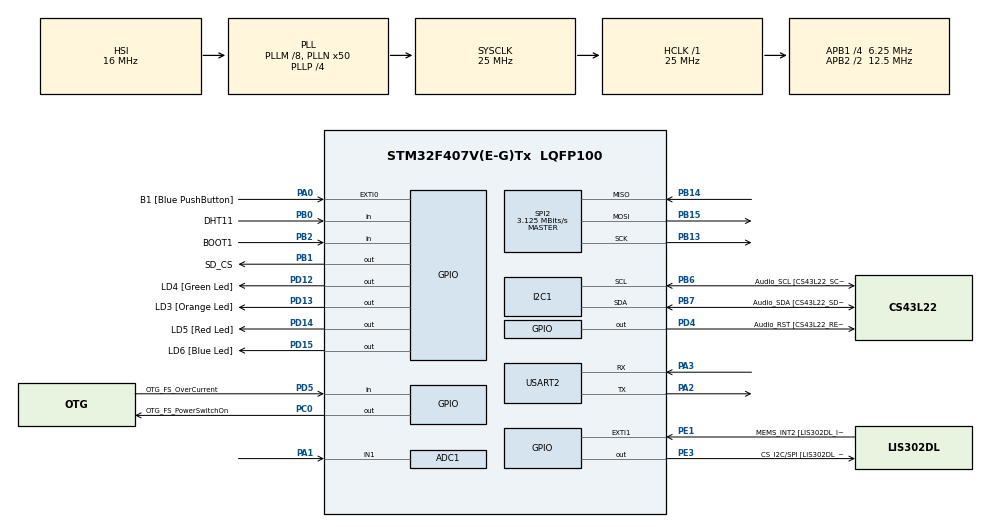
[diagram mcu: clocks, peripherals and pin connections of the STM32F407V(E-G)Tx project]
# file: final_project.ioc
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ADC1.Channel-0\#ChannelRegularConversion=ADC_CHANNEL_1
ADC1.ClockPrescaler=ADC_CLOCK_SYNC_PCLK_DIV4
ADC1.NbrOfConversionFlag=1
ADC1.Rank-0\#ChannelRegularConversion=1
ADC1.SamplingTime-0\#ChannelRegularConversion=ADC_SAMPLETIME_56CYCLES
ADC1.master=1
Mcu.Family=STM32F4
Mcu.Name=STM32F407V(E-G)Tx
Mcu.Package=LQFP100
NVIC.PriorityGroup=NVIC_PRIORITYGROUP_4
NVIC.TIM2_IRQn=true\:15\:0\:false\:false\:true\:false\:true\:true
NVIC.TimeBase=TIM2_IRQn
NVIC.TimeBaseIP=TIM2
NVIC.USART2_IRQn=true\:0\:0\:false\:false\:true\:true\:true\:true
PA0-WKUP.GPIO_Label=B1 [Blue PushButton]
PA0-WKUP.Signal=GPXTI0
PA1.Signal=ADCx_IN1
PA10.GPIO_Label=OTG_FS_ID
PA10.GPIO_Mode=GPIO_MODE_AF_PP
PA10.GPIO_PuPd=GPIO_NOPULL
PA10.GPIO_Speed=GPIO_SPEED_FREQ_LOW
PA10.Signal=USB_OTG_FS_ID
PA11.GPIO_Label=OTG_FS_DM
PA11.GPIO_Mode=GPIO_MODE_AF_PP
PA11.GPIO_PuPd=GPIO_NOPULL
PA11.GPIO_Speed=GPIO_SPEED_FREQ_LOW
PA11.Signal=USB_OTG_FS_DM
PA12.GPIO_Label=OTG_FS_DP
PA12.GPIO_Mode=GPIO_MODE_AF_PP
PA12.GPIO_PuPd=GPIO_NOPULL
PA12.GPIO_Speed=GPIO_SPEED_FREQ_LOW
PA12.Signal=USB_OTG_FS_DP
PA13.GPIO_Label=SWDIO
PA13.Mode=Serial_Wire
PA13.Signal=SYS_JTMS-SWDIO
PA14.GPIO_Label=SWCLK
PA14.Mode=Serial_Wire
PA14.Signal=SYS_JTCK-SWCLK
PA2.Mode=Asynchronous
PA2.Signal=USART2_TX
PA3.Mode=Asynchronous
PA3.Signal=USART2_RX
PA4.GPIO_Label=I2S3_WS [CS43L22_LRCK]
PA4.GPIO_Mode=GPIO_MODE_AF_PP
PA4.GPIO_PuPd=GPIO_NOPULL
PA4.GPIO_Speed=GPIO_SPEED_FREQ_LOW
PA4.Signal=I2S3_WS
PA5.GPIO_Label=SPI1_SCK [LIS302DL_SCL/SPC]
PA5.GPIO_Mode=GPIO_MODE_AF_PP
PA5.GPIO_PuPd=GPIO_NOPULL
PA5.GPIO_Speed=GPIO_SPEED_FREQ_LOW
PA5.Signal=SPI1_SCK
PA6.GPIO_Label=SPI1_MISO [LIS302DL_SDO]
PA6.GPIO_Mode=GPIO_MODE_AF_PP
PA6.GPIO_PuPd=GPIO_NOPULL
PA6.GPIO_Speed=GPIO_SPEED_FREQ_LOW
PA6.Signal=SPI1_MISO
PA7.GPIO_Label=SPI1_MOSI [LIS302DL_SDA/SDI/SDO]
PA7.GPIO_Mode=GPIO_MODE_AF_PP
PA7.GPIO_PuPd=GPIO_NOPULL
PA7.GPIO_Speed=GPIO_SPEED_FREQ_LOW
PA7.Signal=SPI1_MOSI
PA9.GPIO_Label=VBUS_FS
PA9.GPIO_Mode=GPIO_MODE_INPUT
PA9.GPIO_PuPd=GPIO_NOPULL
PA9.Signal=USB_OTG_FS_VBUS
PB0.GPIO_Label=DHT11
PB0.GPIO_PuPd=GPIO_PULLUP
PB0.Signal=GPIO_Input
PB1.GPIO_Label=SD_CS
PB1.Signal=GPIO_Output
PB10.GPIO_Label=CLK_IN [MP45DT02_CLK]
PB10.GPIO_Mode=GPIO_MODE_AF_PP
PB10.GPIO_PuPd=GPIO_NOPULL
PB10.GPIO_Speed=GPIO_SPEED_FREQ_LOW
PB10.Signal=I2S2_CK
PB13.Mode=Full_Duplex_Master
PB13.Signal=SPI2_SCK
PB14.Mode=Full_Duplex_Master
PB14.Signal=SPI2_MISO
PB15.Mode=Full_Duplex_Master
PB15.Signal=SPI2_MOSI
PB2.GPIO_Label=BOOT1
PB2.GPIO_Mode=GPIO_MODE_INPUT
PB2.GPIO_PuPd=GPIO_NOPULL
PB2.Signal=GPIO_Input
PB3.GPIO_Label=SWO
PB3.Signal=SYS_JTDO-SWO
PB6.GPIO_Label=Audio_SCL [CS43L22_SCL]
PB6.GPIO_Mode=GPIO_MODE_AF_OD
PB6.GPIO_PuPd=GPIO_NOPULL
PB6.GPIO_Speed=GPIO_SPEED_FREQ_LOW
PB6.Mode=I2C
PB6.Signal=I2C1_SCL
PB7.GPIO_Label=Audio_SDA [CS43L22_SDA]
PB7.GPIO_Mode=GPIO_MODE_AF_OD
PB7.GPIO_Speed=GPIO_SPEED_FREQ_LOW
PB7.Mode=I2C
PB7.Signal=I2C1_SDA
PC0.GPIO_Label=OTG_FS_PowerSwitchOn
PC0.GPIO_PuPd=GPIO_NOPULL
PC0.GPIO_Speed=GPIO_SPEED_FREQ_LOW
PC0.PinState=GPIO_PIN_SET
PC0.Signal=GPIO_Output
PC10.GPIO_Label=I2S3_SCK [CS43L22_SCLK]
PC10.GPIO_Mode=GPIO_MODE_AF_PP
PC10.GPIO_PuPd=GPIO_NOPULL
PC10.GPIO_Speed=GPIO_SPEED_FREQ_LOW
PC10.Signal=I2S3_CK
PC12.GPIO_Label=I2S3_SD [CS43L22_SDIN]
PC12.GPIO_Mode=GPIO_MODE_AF_PP
PC12.GPIO_PuPd=GPIO_NOPULL
PC12.GPIO_Speed=GPIO_SPEED_FREQ_LOW
PC12.Signal=I2S3_SD
PC14-OSC32_IN.GPIO_Label=PC14-OSC32_IN
PC14-OSC32_IN.Signal=RCC_OSC32_IN
PC15-OSC32_OUT.GPIO_Label=PC15-OSC32_OUT
PC15-OSC32_OUT.Signal=RCC_OSC32_OUT
PC3.GPIO_Label=PDM_OUT [MP45DT02_DOUT]
PC3.GPIO_Mode=GPIO_MODE_AF_PP
PC3.GPIO_PuPd=GPIO_NOPULL
PC3.GPIO_Speed=GPIO_SPEED_FREQ_LOW
PC3.Signal=I2S2_SD
PC7.GPIO_Label=I2S3_MCK [CS43L22_MCLK]
PC7.GPIO_Mode=GPIO_MODE_AF_PP
PC7.GPIO_PuPd=GPIO_NOPULL
PC7.GPIO_Speed=GPIO_SPEED_FREQ_LOW
PC7.Signal=I2S3_MCK
PD12.GPIO_Label=LD4 [Green Led]
PD12.GPIO_PuPd=GPIO_NOPULL
PD12.GPIO_Speed=GPIO_SPEED_FREQ_LOW
PD12.Signal=GPIO_Output
PD13.GPIO_Label=LD3 [Orange Led]
PD13.GPIO_PuPd=GPIO_NOPULL
PD13.GPIO_Speed=GPIO_SPEED_FREQ_LOW
PD13.Signal=GPIO_Output
PD14.GPIO_Label=LD5 [Red Led]
PD14.GPIO_PuPd=GPIO_NOPULL
PD14.GPIO_Speed=GPIO_SPEED_FREQ_LOW
PD14.Signal=GPIO_Output
PD15.GPIO_Label=LD6 [Blue Led]
PD15.GPIO_PuPd=GPIO_NOPULL
PD15.GPIO_Speed=GPIO_SPEED_FREQ_LOW
PD15.Signal=GPIO_Output
PD4.GPIO_Label=Audio_RST [CS43L22_RESET]
PD4.GPIO_PuPd=GPIO_NOPULL
PD4.GPIO_Speed=GPIO_SPEED_FREQ_LOW
PD4.Signal=GPIO_Output
PD5.GPIO_Label=OTG_FS_OverCurrent
PD5.GPIO_Mode=GPIO_MODE_INPUT
PD5.GPIO_PuPd=GPIO_NOPULL
PD5.Signal=GPIO_Input
PE1.GPIO_Label=MEMS_INT2 [LIS302DL_INT2]
PE1.GPIO_ModeDefaultEXTI=GPIO_MODE_EVT_RISING
PE1.GPIO_PuPd=GPIO_NOPULL
PE1.Signal=GPXTI1
PE3.GPIO_Label=CS_I2C/SPI [LIS302DL_CS_I2C/SPI]
PE3.GPIO_PuPd=GPIO_NOPULL
PE3.GPIO_Speed=GPIO_SPEED_FREQ_LOW
PE3.Signal=GPIO_Output
PH0-OSC_IN.GPIO_Label=PH0-OSC_IN
PH0-OSC_IN.Signal=RCC_OSC_IN
PH1-OSC_OUT.GPIO_Label=PH1-OSC_OUT
PH1-OSC_OUT.Signal=RCC_OSC_OUT
ProjectManager.HeapSize=0x200
ProjectManager.StackSize=0x400
ProjectManager.TargetToolchain=STM32CubeIDE
RCC.48MHZClocksFreq_Value=14285714.285714285
RCC.AHBFreq_Value=25000000
RCC.APB1CLKDivider=RCC_HCLK_DIV4
RCC.APB1Freq_Value=6250000
RCC.APB1TimFreq_Value=12500000
RCC.APB2CLKDivider=RCC_HCLK_DIV2
RCC.APB2Freq_Value=12500000
RCC.APB2TimFreq_Value=25000000
RCC.CortexFreq_Value=25000000
RCC.HCLKFreq_Value=25000000
RCC.HSE_VALUE=8000000
RCC.HSI_VALUE=16000000
RCC.LSE_VALUE=32768
RCC.PLLM=8
RCC.PLLN=50
RCC.PLLP=RCC_PLLP_DIV4
RCC.PLLQ=7
RCC.SYSCLKFreq_VALUE=25000000
RCC.SYSCLKSource=RCC_SYSCLKSOURCE_PLLCLK
RCC.VCOOutputFreq_Value=100000000
SH.ADCx_IN1.0=ADC1_IN1,IN1
SPI2.CalculateBaudRate=3.125 MBits/s
SPI2.Direction=SPI_DIRECTION_2LINES
SPI2.Mode=SPI_MODE_MASTER
SPI2.VirtualType=VM_MASTER
USART2.VirtualMode=VM_ASYNC
VP_FATFS_VS_Generic.Mode=User_defined
VP_SYS_VS_tim2.Mode=TIM2
board=STM32F407G-DISC1

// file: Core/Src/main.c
/* USER CODE BEGIN Header */
/**
  ******************************************************************************
  * @file           : main.c
  * @brief          : Main program body
  ******************************************************************************
  * @attention
  *
  * Copyright (c) 2026 STMicroelectronics.
  * All rights reserved.
  *
  * This software is licensed under terms that can be found in the LICENSE file
  * in the root directory of this software component.
  * If no LICENSE file comes with this software, it is provided AS-IS.
  *
  ******************************************************************************
  */
/* USER CODE END Header */
#include "main.h"
#include "fatfs.h"

/* USER CODE BEGIN Includes */
#include <stdio.h>
#include "FreeRTOS.h"
#include "task.h"
#include "program_loader.h"
#include "drivers.h"
#include "vfs.h"
#include "vfsio.h"
#include "vfs_default.h"
#include "vfs_fatfs.h"
#include "vfs_uart2_tty.h"
/* USER CODE END Includes */

/* USER CODE BEGIN PD */
#define INIT_SCRIPT_PATH "/init.sh"
/* USER CODE END PD */

SPI_HandleTypeDef hspi2;

UART_HandleTypeDef huart2;

/* USER CODE BEGIN PV */
struct file_system rom_fs;
struct fat_fs sdcard_fs;
struct uart2_tty_fs uart2_tty_fs;
/* USER CODE END PV */

void SystemClock_Config(void);
static void MX_GPIO_Init(void);
static void MX_SPI2_Init(void);
static void MX_USART2_UART_Init(void);
/* USER CODE BEGIN PFP */
static void StartupTask(void *argument);
/* USER CODE END PFP */

/* USER CODE BEGIN 0 */
int _write(int file, char *ptr, int len)
{
  struct file uart2_tty_file;
  vf_result_t res = vf_open(&uart2_tty_file, "dev/uart2_tty", 0);
  if (res != VF_SUCCESS) {
      return res;
  }

  res = vf_write(&uart2_tty_file, ptr, (size_t)len);
  if (res != VF_SUCCESS) {
      vf_close(&uart2_tty_file);
      return res;
  }

  vf_close(&uart2_tty_file);
  return res;
}

static void StartupTask(void *argument)
{
    printf("StartupTask start\r\n");

    printf("Run init script: %s\r\n", INIT_SCRIPT_PATH);

    char path_buffer[256];
    snprintf(path_buffer, sizeof(path_buffer), "%s%s", "home", INIT_SCRIPT_PATH);

    int result = ProgramLoader_RunScript(path_buffer);

    if (result == 0) {
        printf("Init script finished\r\n");
    } else {
        printf("Init script failed, result=%d\r\n", result);
    }

    vTaskDelete(NULL);
}
/* USER CODE END 0 */

int main(void)
{

  /* MCU Configuration--------------------------------------------------------*/

  /* Reset of all peripherals, Initializes the Flash interface and the Systick. */
  HAL_Init();

  /* Configure the system clock */
  SystemClock_Config();

  /* Initialize all configured peripherals */
  MX_GPIO_Init();
  MX_SPI2_Init();
  MX_USART2_UART_Init();
  MX_FATFS_Init();
  MX_I2C1_Init();
  MX_ADC1_Init();
  /* USER CODE BEGIN 2 */
  /* Mount file systems */
  mount_default(&rom_fs, "");
  mount_fatfs(&sdcard_fs, "home");
  mount_uart2_tty(&uart2_tty_fs, "dev/uart2_tty", 128);

  /* 按需啟用感測器初始化函式 */
  // initialize_LED();
  initialize_Button();
  // initialize_DHT11();
  // initialize_DHT22();
  initialize_bodyTemp();
  initialize_AD8232();

  xTaskCreate(StartupTask, "StartupTask", 1024, NULL, tskIDLE_PRIORITY + 1, NULL);
  vTaskStartScheduler();

  unmount_uart2_tty(&uart2_tty_fs);
  unmount_fatfs(&sdcard_fs);
  unmount_default(&rom_fs);
  /* USER CODE END 2 */

  /* Infinite loop */
  while (1)
  {

  }
}

void SystemClock_Config(void)
{
  RCC_OscInitTypeDef RCC_OscInitStruct = {0};
  RCC_ClkInitTypeDef RCC_ClkInitStruct = {0};

  /** Configure the main internal regulator output voltage
  */
  __HAL_RCC_PWR_CLK_ENABLE();
  __HAL_PWR_VOLTAGESCALING_CONFIG(PWR_REGULATOR_VOLTAGE_SCALE1);

  /** Initializes the RCC Oscillators according to the specified parameters
  * in the RCC_OscInitTypeDef structure.
  */
  RCC_OscInitStruct.OscillatorType = RCC_OSCILLATORTYPE_HSI;
  RCC_OscInitStruct.HSIState = RCC_HSI_ON;
  RCC_OscInitStruct.HSICalibrationValue = RCC_HSICALIBRATION_DEFAULT;
  RCC_OscInitStruct.PLL.PLLState = RCC_PLL_ON;
  RCC_OscInitStruct.PLL.PLLSource = RCC_PLLSOURCE_HSI;
  RCC_OscInitStruct.PLL.PLLM = 8;
  RCC_OscInitStruct.PLL.PLLN = 50;
  RCC_OscInitStruct.PLL.PLLP = RCC_PLLP_DIV4;
  RCC_OscInitStruct.PLL.PLLQ = 7;
  if (HAL_RCC_OscConfig(&RCC_OscInitStruct) != HAL_OK)
  {
    Error_Handler();
  }

  /** Initializes the CPU, AHB and APB buses clocks
  */
  RCC_ClkInitStruct.ClockType = RCC_CLOCKTYPE_HCLK|RCC_CLOCKTYPE_SYSCLK
                              |RCC_CLOCKTYPE_PCLK1|RCC_CLOCKTYPE_PCLK2;
  RCC_ClkInitStruct.SYSCLKSource = RCC_SYSCLKSOURCE_PLLCLK;
  RCC_ClkInitStruct.AHBCLKDivider = RCC_SYSCLK_DIV1;
  RCC_ClkInitStruct.APB1CLKDivider = RCC_HCLK_DIV4;
  RCC_ClkInitStruct.APB2CLKDivider = RCC_HCLK_DIV2;

  if (HAL_RCC_ClockConfig(&RCC_ClkInitStruct, FLASH_LATENCY_0) != HAL_OK)
  {
    Error_Handler();
  }
}

static void MX_SPI2_Init(void)
{

  /* SPI2 parameter configuration*/
  hspi2.Instance = SPI2;
  hspi2.Init.Mode = SPI_MODE_MASTER;
  hspi2.Init.Direction = SPI_DIRECTION_2LINES;
  hspi2.Init.DataSize = SPI_DATASIZE_8BIT;
  hspi2.Init.CLKPolarity = SPI_POLARITY_LOW;
  hspi2.Init.CLKPhase = SPI_PHASE_1EDGE;
  hspi2.Init.NSS = SPI_NSS_SOFT;
  hspi2.Init.BaudRatePrescaler = SPI_BAUDRATEPRESCALER_2;
  hspi2.Init.FirstBit = SPI_FIRSTBIT_MSB;
  hspi2.Init.TIMode = SPI_TIMODE_DISABLE;
  hspi2.Init.CRCCalculation = SPI_CRCCALCULATION_DISABLE;
  hspi2.Init.CRCPolynomial = 10;
  if (HAL_SPI_Init(&hspi2) != HAL_OK)
  {
    Error_Handler();
  }

}

static void MX_USART2_UART_Init(void)
{

  huart2.Instance = USART2;
  huart2.Init.BaudRate = 115200;
  huart2.Init.WordLength = UART_WORDLENGTH_8B;
  huart2.Init.StopBits = UART_STOPBITS_1;
  huart2.Init.Parity = UART_PARITY_NONE;
  huart2.Init.Mode = UART_MODE_TX_RX;
  huart2.Init.HwFlowCtl = UART_HWCONTROL_NONE;
  huart2.Init.OverSampling = UART_OVERSAMPLING_16;
  if (HAL_UART_Init(&huart2) != HAL_OK)
  {
    Error_Handler();
  }

}

static void MX_GPIO_Init(void)
{
  GPIO_InitTypeDef GPIO_InitStruct = {0};

  /* GPIO Ports Clock Enable */
  __HAL_RCC_GPIOE_CLK_ENABLE();
  __HAL_RCC_GPIOC_CLK_ENABLE();
  __HAL_RCC_GPIOH_CLK_ENABLE();
  __HAL_RCC_GPIOA_CLK_ENABLE();
  __HAL_RCC_GPIOB_CLK_ENABLE();
  __HAL_RCC_GPIOD_CLK_ENABLE();

  /*Configure GPIO pin Output Level */
  HAL_GPIO_WritePin(CS_I2C_SPI_GPIO_Port, CS_I2C_SPI_Pin, GPIO_PIN_RESET);

  /*Configure GPIO pin Output Level */
  HAL_GPIO_WritePin(OTG_FS_PowerSwitchOn_GPIO_Port, OTG_FS_PowerSwitchOn_Pin, GPIO_PIN_SET);

  /*Configure GPIO pin Output Level */
  HAL_GPIO_WritePin(SD_CS_GPIO_Port, SD_CS_Pin, GPIO_PIN_RESET);

  /*Configure GPIO pin Output Level */
  HAL_GPIO_WritePin(GPIOD, LD4_Pin|LD3_Pin|LD5_Pin|LD6_Pin
                          |Audio_RST_Pin, GPIO_PIN_RESET);

  /*Configure GPIO pin : CS_I2C_SPI_Pin */
  GPIO_InitStruct.Pin = CS_I2C_SPI_Pin;
  GPIO_InitStruct.Mode = GPIO_MODE_OUTPUT_PP;
  GPIO_InitStruct.Pull = GPIO_NOPULL;
  GPIO_InitStruct.Speed = GPIO_SPEED_FREQ_LOW;
  HAL_GPIO_Init(CS_I2C_SPI_GPIO_Port, &GPIO_InitStruct);

  /*Configure GPIO pin : OTG_FS_PowerSwitchOn_Pin */
  GPIO_InitStruct.Pin = OTG_FS_PowerSwitchOn_Pin;
  GPIO_InitStruct.Mode = GPIO_MODE_OUTPUT_PP;
  GPIO_InitStruct.Pull = GPIO_NOPULL;
  GPIO_InitStruct.Speed = GPIO_SPEED_FREQ_LOW;
  HAL_GPIO_Init(OTG_FS_PowerSwitchOn_GPIO_Port, &GPIO_InitStruct);

  /*Configure GPIO pin : PDM_OUT_Pin */
  GPIO_InitStruct.Pin = PDM_OUT_Pin;
  GPIO_InitStruct.Mode = GPIO_MODE_AF_PP;
  GPIO_InitStruct.Pull = GPIO_NOPULL;
  GPIO_InitStruct.Speed = GPIO_SPEED_FREQ_LOW;
  GPIO_InitStruct.Alternate = GPIO_AF5_SPI2;
  HAL_GPIO_Init(PDM_OUT_GPIO_Port, &GPIO_InitStruct);

  /*Configure GPIO pin : B1_Pin */
  GPIO_InitStruct.Pin = B1_Pin;
  GPIO_InitStruct.Mode = GPIO_MODE_IT_RISING;
  GPIO_InitStruct.Pull = GPIO_NOPULL;
  HAL_GPIO_Init(B1_GPIO_Port, &GPIO_InitStruct);

  /*Configure GPIO pin : I2S3_WS_Pin */
  GPIO_InitStruct.Pin = I2S3_WS_Pin;
  GPIO_InitStruct.Mode = GPIO_MODE_AF_PP;
  GPIO_InitStruct.Pull = GPIO_NOPULL;
  GPIO_InitStruct.Speed = GPIO_SPEED_FREQ_LOW;
  GPIO_InitStruct.Alternate = GPIO_AF6_SPI3;
  HAL_GPIO_Init(I2S3_WS_GPIO_Port, &GPIO_InitStruct);

  /*Configure GPIO pins : SPI1_SCK_Pin SPI1_MISO_Pin SPI1_MOSI_Pin */
  GPIO_InitStruct.Pin = SPI1_SCK_Pin|SPI1_MISO_Pin|SPI1_MOSI_Pin;
  GPIO_InitStruct.Mode = GPIO_MODE_AF_PP;
  GPIO_InitStruct.Pull = GPIO_NOPULL;
  GPIO_InitStruct.Speed = GPIO_SPEED_FREQ_LOW;
  GPIO_InitStruct.Alternate = GPIO_AF5_SPI1;
  HAL_GPIO_Init(GPIOA, &GPIO_InitStruct);

  /*Configure GPIO pin : DHT11_Pin */
  GPIO_InitStruct.Pin = DHT11_Pin;
  GPIO_InitStruct.Mode = GPIO_MODE_INPUT;
  GPIO_InitStruct.Pull = GPIO_PULLUP;
  HAL_GPIO_Init(DHT11_GPIO_Port, &GPIO_InitStruct);

  /*Configure GPIO pin : SD_CS_Pin */
  GPIO_InitStruct.Pin = SD_CS_Pin;
  GPIO_InitStruct.Mode = GPIO_MODE_OUTPUT_PP;
  GPIO_InitStruct.Pull = GPIO_NOPULL;
  GPIO_InitStruct.Speed = GPIO_SPEED_FREQ_LOW;
  HAL_GPIO_Init(SD_CS_GPIO_Port, &GPIO_InitStruct);

  /*Configure GPIO pin : BOOT1_Pin */
  GPIO_InitStruct.Pin = BOOT1_Pin;
  GPIO_InitStruct.Mode = GPIO_MODE_INPUT;
  GPIO_InitStruct.Pull = GPIO_NOPULL;
  HAL_GPIO_Init(BOOT1_GPIO_Port, &GPIO_InitStruct);

  /*Configure GPIO pin : CLK_IN_Pin */
  GPIO_InitStruct.Pin = CLK_IN_Pin;
  GPIO_InitStruct.Mode = GPIO_MODE_AF_PP;
  GPIO_InitStruct.Pull = GPIO_NOPULL;
  GPIO_InitStruct.Speed = GPIO_SPEED_FREQ_LOW;
  GPIO_InitStruct.Alternate = GPIO_AF5_SPI2;
  HAL_GPIO_Init(CLK_IN_GPIO_Port, &GPIO_InitStruct);

  /*Configure GPIO pins : LD4_Pin LD3_Pin LD5_Pin LD6_Pin
                           Audio_RST_Pin */
  GPIO_InitStruct.Pin = LD4_Pin|LD3_Pin|LD5_Pin|LD6_Pin
                          |Audio_RST_Pin;
  GPIO_InitStruct.Mode = GPIO_MODE_OUTPUT_PP;
  GPIO_InitStruct.Pull = GPIO_NOPULL;
  GPIO_InitStruct.Speed = GPIO_SPEED_FREQ_LOW;
  HAL_GPIO_Init(GPIOD, &GPIO_InitStruct);

  /*Configure GPIO pins : I2S3_MCK_Pin I2S3_SCK_Pin I2S3_SD_Pin */
  GPIO_InitStruct.Pin = I2S3_MCK_Pin|I2S3_SCK_Pin|I2S3_SD_Pin;
  GPIO_InitStruct.Mode = GPIO_MODE_AF_PP;
  GPIO_InitStruct.Pull = GPIO_NOPULL;
  GPIO_InitStruct.Speed = GPIO_SPEED_FREQ_LOW;
  GPIO_InitStruct.Alternate = GPIO_AF6_SPI3;
  HAL_GPIO_Init(GPIOC, &GPIO_InitStruct);

  /*Configure GPIO pin : VBUS_FS_Pin */
  GPIO_InitStruct.Pin = VBUS_FS_Pin;
  GPIO_InitStruct.Mode = GPIO_MODE_INPUT;
  GPIO_InitStruct.Pull = GPIO_NOPULL;
  HAL_GPIO_Init(VBUS_FS_GPIO_Port, &GPIO_InitStruct);

  /*Configure GPIO pins : OTG_FS_ID_Pin OTG_FS_DM_Pin OTG_FS_DP_Pin */
  GPIO_InitStruct.Pin = OTG_FS_ID_Pin|OTG_FS_DM_Pin|OTG_FS_DP_Pin;
  GPIO_InitStruct.Mode = GPIO_MODE_AF_PP;
  GPIO_InitStruct.Pull = GPIO_NOPULL;
  GPIO_InitStruct.Speed = GPIO_SPEED_FREQ_LOW;
  GPIO_InitStruct.Alternate = GPIO_AF10_OTG_FS;
  HAL_GPIO_Init(GPIOA, &GPIO_InitStruct);

  /*Configure GPIO pin : OTG_FS_OverCurrent_Pin */
  GPIO_InitStruct.Pin = OTG_FS_OverCurrent_Pin;
  GPIO_InitStruct.Mode = GPIO_MODE_INPUT;
  GPIO_InitStruct.Pull = GPIO_NOPULL;
  HAL_GPIO_Init(OTG_FS_OverCurrent_GPIO_Port, &GPIO_InitStruct);

  /*Configure GPIO pin : MEMS_INT2_Pin */
  GPIO_InitStruct.Pin = MEMS_INT2_Pin;
  GPIO_InitStruct.Mode = GPIO_MODE_EVT_RISING;
  GPIO_InitStruct.Pull = GPIO_NOPULL;
  HAL_GPIO_Init(MEMS_INT2_GPIO_Port, &GPIO_InitStruct);

}

void HAL_TIM_PeriodElapsedCallback(TIM_HandleTypeDef *htim)
{
  if (htim->Instance == TIM2)
  {
    HAL_IncTick();
  }
}

void Error_Handler(void)
{
  __disable_irq();
  while (1)
  {
  }
}
